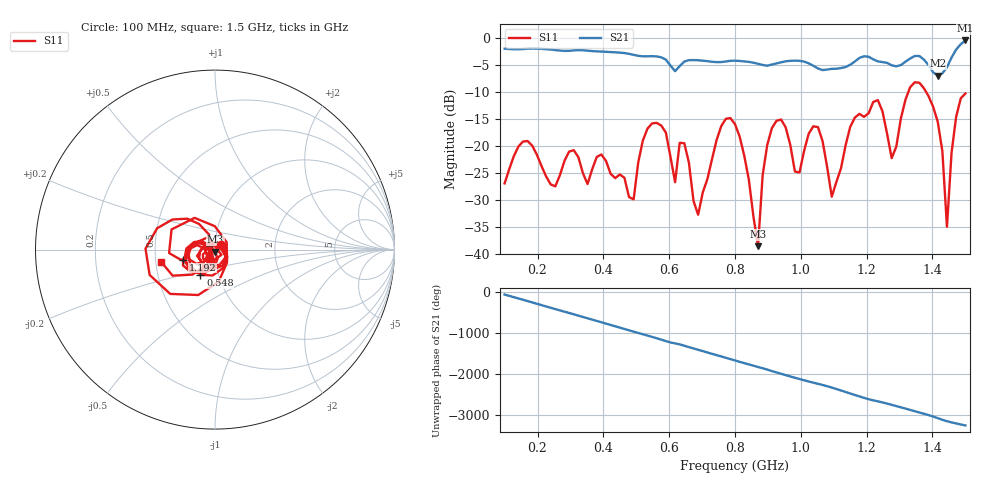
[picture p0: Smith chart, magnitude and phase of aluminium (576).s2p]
! NanoVNA-App
! Date: 2025-09-25 14:59:46
! Start: 100MHz Stop: 1,5GHz Points: 101
! S-Parameter data: F S11 S21 S12 S22
# Hz S RI R 50
!  Frequency  S11_Real  S11_Imag  S21_Real  S21_Imag  S12_Real  S12_Imag  S22_Real  S22_Imag
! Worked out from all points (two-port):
!   101 points, 100 MHz to 1.5 GHz, reference 50 ohm
!   highest |S21| = -0.39 dB at 1.5 GHz (marker M1); lowest = -6.9 dB at 1.416 GHz (marker M2)
!   |S21| within 3 dB of the highest: start of sweep to 564.8 MHz; 1.46 GHz to end of sweep (the widest 2 of 4)
!   lowest |S11| = -38.6 dB at 870 MHz (marker M3), VSWR 1.02, Z = 50.2 - j1.16 ohm
!   |S11| at or under -10 dB: start of sweep to 1.326 GHz; 1.381 GHz to end of sweep
!   S12 and S22 are empty: the file has one direction only
!   S11 on the Smith chart (normalised r, x): 100 MHz: 1.07, +0.06; 548 MHz: 0.82, -0.24; 1.192 GHz: 0.69, -0.08; 1.5 GHz: 0.53, -0.08
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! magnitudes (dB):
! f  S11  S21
! 100 MHz  -27.0  -1.9
! 156 MHz  -19.2  -2.0
! 338 MHz  -25.1  -2.2
! 492 MHz  -29.9  -3.1
! 548 MHz  -15.8  -3.3
! 576 MHz  -16.2  -3.5
! 618 MHz  -26.7  -6.1
! 646 MHz  -19.5  -4.3
! 688 MHz  -32.8  -4.1
! 800 MHz  -15.9  -4.1
! 870 MHz  -38.6  -4.7
! 912 MHz  -16.7  -4.9
! 996 MHz  -24.9  -4.2
! 1.038 GHz  -16.3  -5.1
! 1.094 GHz  -29.4  -5.7
! 1.192 GHz  -14.6  -3.3
! 1.276 GHz  -22.3  -5.0
! 1.346 GHz  -8.2  -3.3
! 1.416 GHz  -15.5  -6.9
! 1.444 GHz  -35.0  -5.4
! 1.472 GHz  -14.5  -2.1
! 1.5 GHz  -10.2  -0.4
